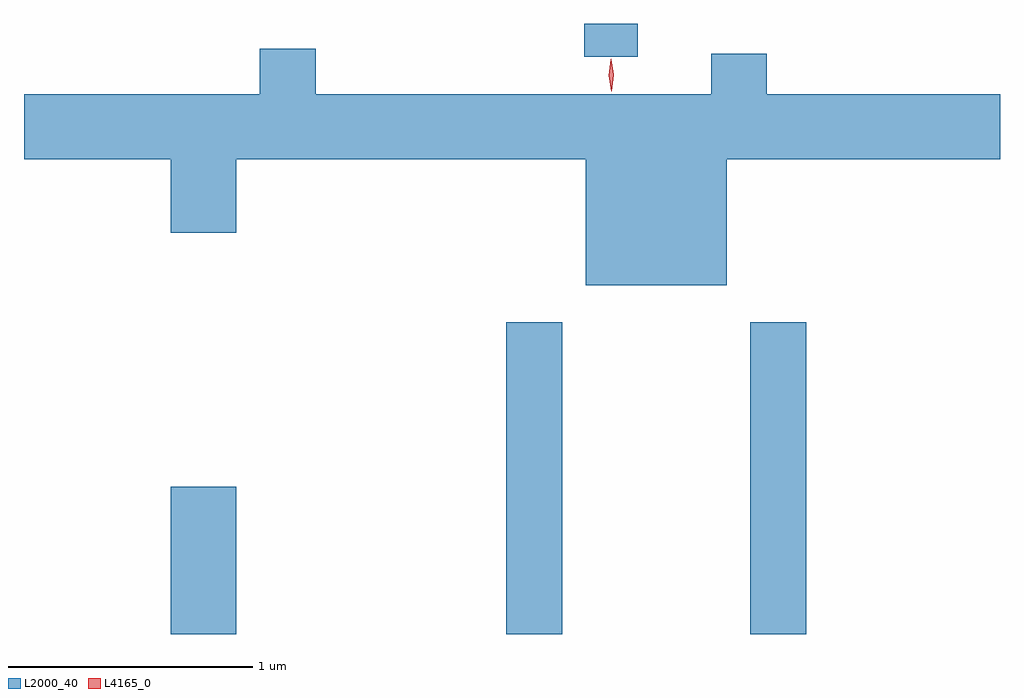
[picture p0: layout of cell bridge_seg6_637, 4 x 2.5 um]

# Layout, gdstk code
import gdstk
lib = gdstk.Library(unit=1e-6, precision=1e-09)
def R(c, l, rs):  # rectangles x0, y0, x1, y1
    for r in rs: c.add(gdstk.rectangle(r[:2], r[2:], *l))
def P(c, l, *ps):  # polygons
    for p in ps: c.add(gdstk.Polygon(p, *l))
L2000_40 = (2000, 40)
L4165_0 = (4165, 0)

bridge_seg6_637 = lib.new_cell('bridge_seg6_637')
R(bridge_seg6_637, L2000_40, [(314.976,1665.75,315.244,1666.354), (316.351,1665.75,316.579,1667.029), (317.351,1665.75,317.579,1667.029), (316.671,1668.116,316.889,1668.252)])
P(bridge_seg6_637, L2000_40, [(317.254,1667.696),(318.374,1667.696),(318.374,1667.964),(317.419,1667.964),(317.419,1668.129),(317.191,1668.129),(317.191,1667.964),(315.569,1667.964),(315.569,1668.149),(315.341,1668.149),(315.341,1667.964),(314.374,1667.964),(314.374,1667.696),(314.976,1667.696),(314.976,1667.396),(315.244,1667.396),(315.244,1667.696),(316.676,1667.696),(316.676,1667.181),(317.254,1667.181)])
P(bridge_seg6_637, L4165_0, [(316.782,1667.975),(316.781,1667.976),(316.771,1668.041),(316.779,1668.107),(316.78,1668.108),(316.78,1668.107),(316.791,1668.042),(316.782,1667.976)])

lib.write_gds('bridge_seg6_637.gds')
